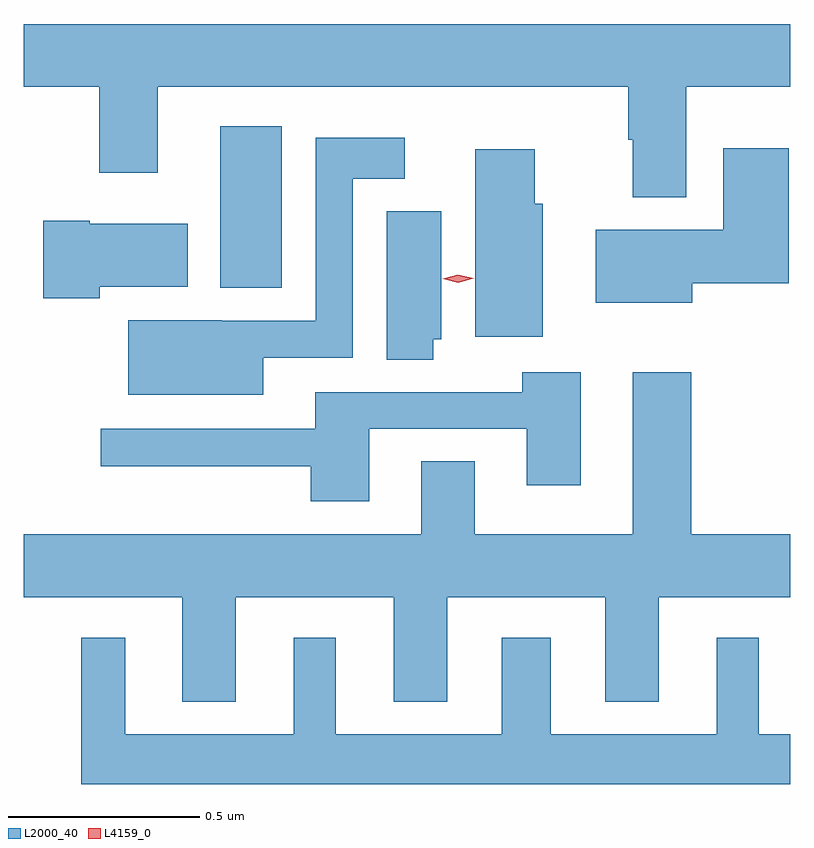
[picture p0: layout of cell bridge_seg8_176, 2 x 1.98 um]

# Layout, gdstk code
import gdstk
lib = gdstk.Library(unit=1e-6, precision=1e-09)
def R(c, l, rs):  # rectangles x0, y0, x1, y1
    for r in rs: c.add(gdstk.rectangle(r[:2], r[2:], *l))
def P(c, l, *ps):  # polygons
    for p in ps: c.add(gdstk.Polygon(p, *l))
L2000_40 = (2000, 40)
L4159_0 = (4159, 0)

bridge_seg8_176 = lib.new_cell('bridge_seg8_176')
R(bridge_seg8_176, L2000_40, [(441.752,1111.979,441.913,1112.401)])
P(bridge_seg8_176, L2000_40, [(442.969,1112.504),(443.24,1112.504),(443.24,1112.668),(441.24,1112.668),(441.24,1112.504),(441.437,1112.504),(441.437,1112.28),(441.589,1112.28),(441.589,1112.504),(442.817,1112.504),(442.817,1112.366),(442.829,1112.366),(442.829,1112.216),(442.969,1112.216)],
  [(441.865,1111.797),(442.098,1111.797),(442.098,1112.264),(442.234,1112.264),(442.234,1112.371),(442.002,1112.371),(442.002,1111.893),(441.756,1111.893),(441.756,1111.894),(441.512,1111.894),(441.512,1111.7),(441.865,1111.7)],
  [(442.984,1111.991),(443.237,1111.991),(443.237,1112.344),(443.066,1112.344),(443.066,1112.131),(442.733,1112.131),(442.733,1111.94),(442.984,1111.94)],
  [(442.594,1112.199),(442.573,1112.199),(442.573,1112.341),(442.418,1112.341),(442.418,1111.851),(442.594,1111.851)],
  [(442.309,1111.845),(442.33,1111.845),(442.33,1112.179),(442.187,1112.179),(442.187,1111.792),(442.309,1111.792)],
  [(441.438,1111.982),(441.667,1111.982),(441.667,1112.146),(441.412,1112.146),(441.412,1112.154),(441.29,1112.154),(441.29,1111.952),(441.438,1111.952)],
  [(442.141,1111.611),(442.553,1111.611),(442.553,1111.464),(442.693,1111.464),(442.693,1111.759),(442.541,1111.759),(442.541,1111.707),(442.001,1111.707),(442.001,1111.611),(441.441,1111.611),(441.441,1111.514),(441.989,1111.514),(441.989,1111.422),(442.141,1111.422)],
  [(442.829,1111.336),(442.417,1111.336),(442.417,1111.526),(442.277,1111.526),(442.277,1111.336),(441.24,1111.336),(441.24,1111.172),(441.653,1111.172),(441.653,1110.899),(441.793,1110.899),(441.793,1111.172),(442.205,1111.172),(442.205,1110.899),(442.345,1110.899),(442.345,1111.172),(442.757,1111.172),(442.757,1110.899),(442.897,1110.899),(442.897,1111.172),(443.24,1111.172),(443.24,1111.336),(442.982,1111.336),(442.982,1111.759),(442.829,1111.759)],
  [(443.24,1110.814),(443.158,1110.814),(443.158,1111.066),(443.048,1111.066),(443.048,1110.814),(442.615,1110.814),(442.615,1111.066),(442.487,1111.066),(442.487,1110.814),(442.054,1110.814),(442.054,1111.066),(441.944,1111.066),(441.944,1110.814),(441.505,1110.814),(441.505,1111.066),(441.389,1111.066),(441.389,1110.684),(443.24,1110.684)])
P(bridge_seg8_176, L4159_0, [(442.374,1111.993),(442.333,1112.003),(442.333,1112.003),(442.333,1112.003),(442.373,1112.013),(442.414,1112.004),(442.414,1112.004),(442.414,1112.004)])

lib.write_gds('bridge_seg8_176.gds')
